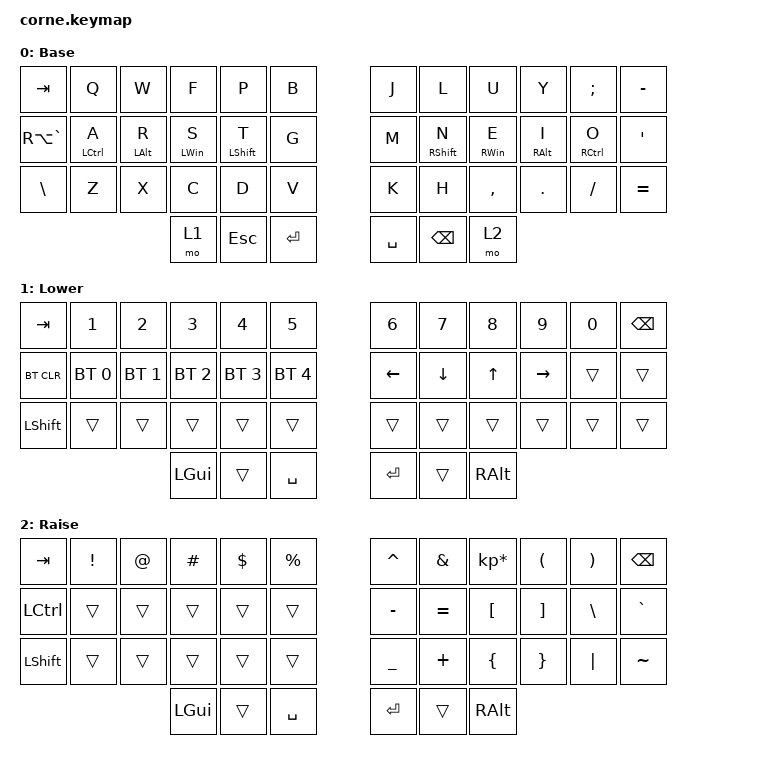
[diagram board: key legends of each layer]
/*
 * Copyright (c) 2020 The ZMK Contributors
 *
 * SPDX-License-Identifier: MIT
 */

#include <behaviors.dtsi>
#include <dt-bindings/zmk/bt.h>
#include <dt-bindings/zmk/keys.h>
#include "keydef.dtsi"
#include "behavior/helper.dtsi"
#include "behavior/specialkey.dtsi"
#include "behavior/autoshift.dtsi"
#include "behavior/homerow.dtsi"

/ {
    behaviors {
        HMR: HMR {
            compatible = "zmk,behavior-hold-tap";
            label = "HMR";
            bindings = <&kp>, <&kp>;

            #binding-cells = <2>;
            tapping-term-ms = <280>;
            quick-tap-ms = <175>;
            flavor = "tap-preferred";
            hold-trigger-on-release;
            hold-trigger-key-positions = <1 0 24 12 13 25 2 14 26 3 15 27 4 16 28 5 17 29 36 37 38 39 40 41>;
        };

        HML: HML {
            compatible = "zmk,behavior-hold-tap";
            label = "HML";
            bindings = <&kp>, <&kp>;

            #binding-cells = <2>;
            tapping-term-ms = <280>;
            quick-tap-ms = <170>;
            flavor = "tap-preferred";
            hold-trigger-on-release;
            hold-trigger-key-positions = <6 7 8 9 10 11 18 19 20 21 22 23 30 31 32 33 34 35 39 40 41 36 37 38>;
        };
    };

    keymap {
        compatible = "zmk,keymap";

        default_layer {
            // -----------------------------------------------------------------------------------------
            // |  TAB |  Q  |  W  |  E  |  R  |  T  |   |  Y  |  U   |  I  |  O  |  P  | BKSP |
            // | CTRL |  A  |  S  |  D  |  F  |  G  |   |  H  |  J   |  K  |  L  |  ;  |  '   |
            // | SHFT |  Z  |  X  |  C  |  V  |  B  |   |  N  |  M   |  ,  |  .  |  /  | ESC  |
            //                    | GUI | LWR | SPC |   | ENT | RSE  | ALT |

            display-name = "Base";
            bindings = <
&kp TAB        &kp Q                &kp W            &kp F            &kp P              &kp B        &kp J      &kp L               &kp U             &kp Y             &kp SEMICOLON         &kp MINUS
&kp RA(GRAVE)  &HML LEFT_CONTROL A  &HML LEFT_ALT R  &HML LEFT_WIN S  &HML LEFT_SHIFT T  &kp G        &kp M      &HMR RIGHT_SHIFT N  &HMR RIGHT_WIN E  &HMR RIGHT_ALT I  &HMR RIGHT_CONTROL O  &kp SINGLE_QUOTE
&kp BACKSLASH  &kp Z                &kp X            &kp C            &kp D              &kp V        &kp K      &kp H               &kp COMMA         &kp DOT           &kp SLASH             &kp EQUAL
                                                     &mo 1            &kp ESC            &kp ENTER    &kp SPACE  &kp BACKSPACE       &mo 2
            >;
        };

        lower_layer {
            // -----------------------------------------------------------------------------------------
            // |  TAB |  1  |  2  |  3  |  4  |  5  |   |  6  |  7  |  8  |  9  |  0  | BKSP |
            // | BTCLR| BT1 | BT2 | BT3 | BT4 | BT5 |   | LFT | DWN |  UP | RGT |     |      |
            // | SHFT |     |     |     |     |     |   |     |     |     |     |     |      |
            //                    | GUI |     | SPC |   | ENT |     | ALT |

            display-name = "Lower";
            bindings = <
&kp TAB     &kp N1        &kp N2        &kp N3        &kp N4        &kp N5          &kp N6    &kp N7    &kp N8    &kp N9     &kp N0  &kp BSPC
&bt BT_CLR  &bt BT_SEL 0  &bt BT_SEL 1  &bt BT_SEL 2  &bt BT_SEL 3  &bt BT_SEL 4    &kp LEFT  &kp DOWN  &kp UP    &kp RIGHT  &trans  &trans
&kp LSHFT   &trans        &trans        &trans        &trans        &trans          &trans    &trans    &trans    &trans     &trans  &trans
                                        &kp LGUI      &trans        &kp SPACE       &kp RET   &trans    &kp RALT
            >;
        };

        raise_layer {
            // -----------------------------------------------------------------------------------------
            // |  TAB |  !  |  @  |  #  |  $  |  %  |   |  ^  |  &  |  *  |  (  |  )  | BKSP |
            // | CTRL |     |     |     |     |     |   |  -  |  =  |  [  |  ]  |  \  |  `   |
            // | SHFT |     |     |     |     |     |   |  _  |  +  |  {  |  }  | "|" |  ~   |
            //                    | GUI |     | SPC |   | ENT |     | ALT |

            display-name = "Raise";
            bindings = <
&kp TAB    &kp EXCL  &kp AT  &kp HASH  &kp DLLR  &kp PRCNT    &kp CARET  &kp AMPS   &kp KP_MULTIPLY  &kp LPAR  &kp RPAR  &kp BSPC
&kp LCTRL  &trans    &trans  &trans    &trans    &trans       &kp MINUS  &kp EQUAL  &kp LBKT         &kp RBKT  &kp BSLH  &kp GRAVE
&kp LSHFT  &trans    &trans  &trans    &trans    &trans       &kp UNDER  &kp PLUS   &kp LBRC         &kp RBRC  &kp PIPE  &kp TILDE
                             &kp LGUI  &trans    &kp SPACE    &kp RET    &trans     &kp RALT
            >;
        };

        extra_1 { status = "reserved"; };

        extra_2 { status = "reserved"; };

        extra_3 { status = "reserved"; };
    };
};
